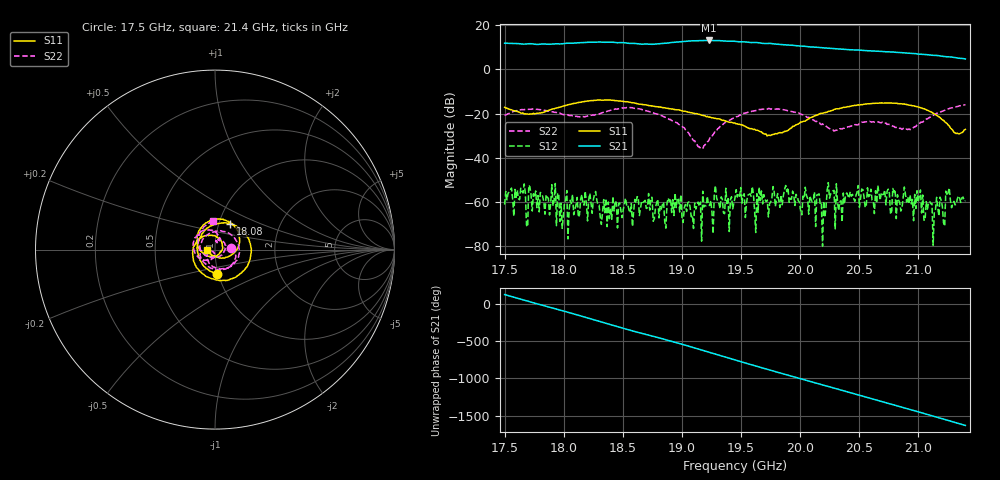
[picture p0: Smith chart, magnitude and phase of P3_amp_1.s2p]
!Created with skrf (http://scikit-rf.org).
# GHz S RI R 50.0
!freq ReS11 ImS11 ReS21 ImS21 ReS12 ImS12 ReS22 ImS22
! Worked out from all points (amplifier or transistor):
!   401 points, 17.5 GHz to 21.4 GHz, reference 50 ohm
!   highest |S21| = 13.1 dB at 19.23 GHz (marker M1)
!   |S21| within 3 dB of that: start of sweep to 20.12 GHz
!   unconditionally stable (mu >= 1): start of sweep to end of sweep
!   at 18.14 GHz: K = 103.47, MAG = 12.2 dB, |S12| = -58.7 dB
!   at 19.45 GHz: K = 92.52, MAG = 12.7 dB, |S12| = -58.1 dB
!   at 21.4 GHz: K = 260.19, MAG = 4.9 dB, |S12| = -59.3 dB
!   S11 on the Smith chart (normalised r, x): 17.5 GHz: 0.99, -0.28; 18.08 GHz: 1.13, +0.34; 21.4 GHz: 0.92, -0.01
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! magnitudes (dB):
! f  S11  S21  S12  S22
! 17.5 GHz  -17.2  11.8  -61.1  -20.8
! 17.66 GHz  -19.7  11.4  -55.9  -18.2
! 17.68 GHz  -20.1  11.4  -55.9  -18.2
! 18.08 GHz  -15.5  11.8  -56.5  -21.0
! 18.15 GHz  -14.8  12.1  -56.6  -21.3
! 18.81 GHz  -17.0  11.6  -67.1  -20.5
! 19.16 GHz  -20.5  13.0  -60.0  -35.5
! 19.23 GHz  -21.5  13.1  -61.4  -32.4
! 19.45 GHz  -24.3  12.7  -58.1  -21.6
! 19.74 GHz  -29.8  11.7  -60.7  -17.7
! 19.88 GHz  -28.0  11.1  -52.5  -18.4
! 20 GHz  -24.4  10.6  -60.1  -19.9
! 20.1 GHz  -21.5  10.1  -59.9  -22.7
! 20.2 GHz  -19.7  9.6  -59.6  -25.1
! 20.25 GHz  -18.9  9.5  -58.2  -26.7
! 20.34 GHz  -17.6  9.2  -59.8  -26.8
! 20.41 GHz  -16.8  8.9  -57.0  -26.0
! 20.76 GHz  -15.3  7.9  -55.8  -24.9
! 21 GHz  -17.1  6.9  -60.0  -24.9
! 21.13 GHz  -19.8  6.3  -79.5  -20.8
! 21.25 GHz  -25.1  5.7  -55.6  -17.9
! 21.4 GHz  -27.1  4.7  -59.3  -15.9
